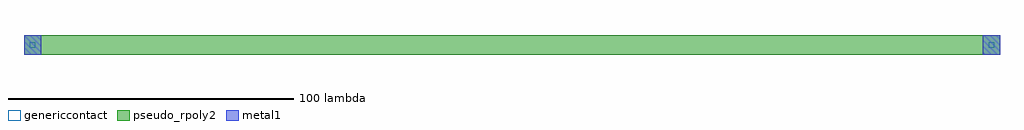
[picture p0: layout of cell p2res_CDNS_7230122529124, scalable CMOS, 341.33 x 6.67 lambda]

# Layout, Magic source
magic
tech scmos
magscale 1 3
<< pseudo_rpoly2 >>
rect 8 8 1032 28
use poly2cont_CDNS_7230122529125  poly2cont_CDNS_7230122529125_0
transform 1 0 1014 0 1 8
box 0 0 18 20
use poly2cont_CDNS_7230122529125  poly2cont_CDNS_7230122529125_1
transform 1 0 8 0 1 8
box 0 0 18 20
<< end >>

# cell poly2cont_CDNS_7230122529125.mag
magic
tech scmos
magscale 1 3
<< genericcontact >>
rect 6 7 12 13
<< metal1 >>
rect 0 0 18 20
<< pseudo_rpoly2 >>
rect 1 1 17 19
<< end >>
